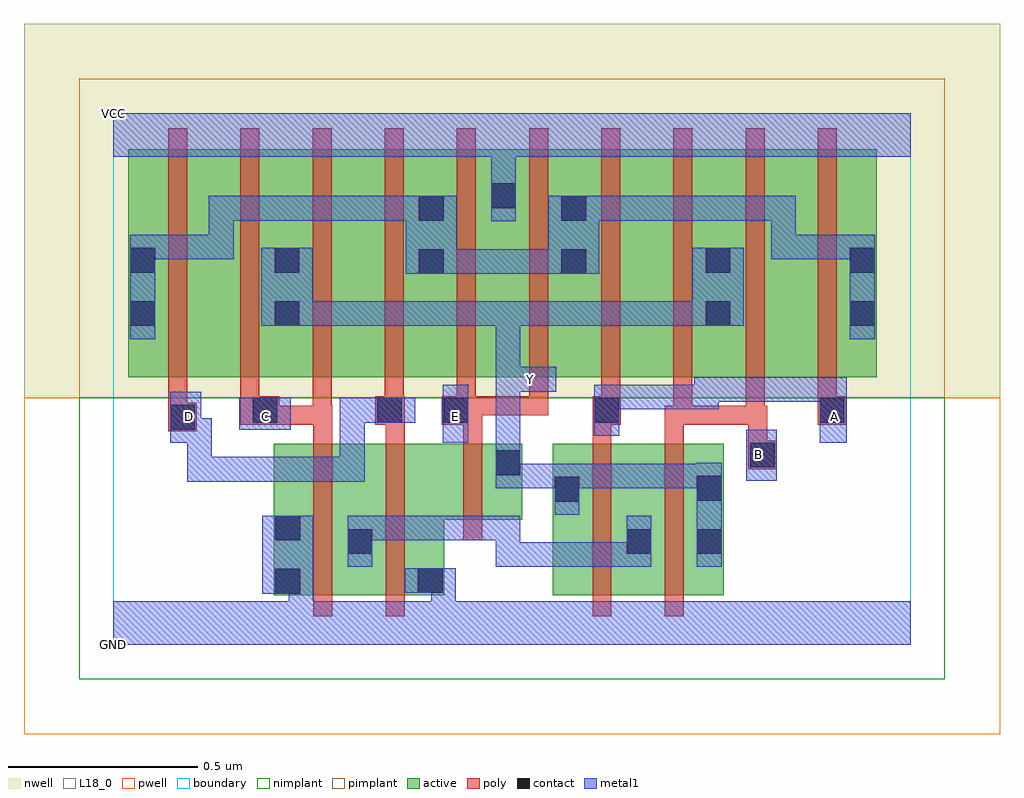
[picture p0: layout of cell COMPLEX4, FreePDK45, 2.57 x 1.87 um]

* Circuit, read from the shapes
.subckt COMPLEX4 A B C D E GND VCC Y
M1 n1 C GND VSUBS nfet w=0.4u l=0.05u
M2 GND D n1 VSUBS nfet w=0.4u l=0.05u
M3 Y E GND VSUBS nfet w=0.2u l=0.05u
M4 n1 A Y VSUBS nfet w=0.4u l=0.05u
M5 Y B n1 VSUBS nfet w=0.4u l=0.05u
M6 n2 D n3 n4 pfet w=0.6u l=0.05u
M7 Y C n2 n4 pfet w=0.6u l=0.05u
M8 n5 C Y n4 pfet w=0.6u l=0.05u
M9 n3 D n5 n4 pfet w=0.6u l=0.05u
M10 VCC E n3 n4 pfet w=0.6u l=0.05u m=2
M11 n6 A n3 n4 pfet w=0.6u l=0.05u
M12 Y B n6 n4 pfet w=0.6u l=0.05u
M13 n7 B Y n4 pfet w=0.6u l=0.05u
M14 n3 A n7 n4 pfet w=0.6u l=0.05u
.ends

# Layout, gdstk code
import gdstk
lib = gdstk.Library(unit=1e-6, precision=1e-09)
def R(c, l, rs):  # rectangles x0, y0, x1, y1
    for r in rs: c.add(gdstk.rectangle(r[:2], r[2:], *l))
def A(c, l, x, y, w, h, nx, ny, dx, dy):  # array of equal rectangles
    R(c, l, [(x+i*dx, y+j*dy, x+i*dx+w, y+j*dy+h) for i in range(nx) for j in range(ny)])
active = (1, 0)
pwell = (2, 0)
nwell = (3, 0)
nimplant = (4, 0)
pimplant = (5, 0)
poly = (9, 0)
contact = (10, 0)
metal1 = (11, 0)
L18_0 = (18, 0)
boundary = (235, 0)

complex4 = lib.new_cell('COMPLEX4')
R(complex4, active, [(0.422,0.13,0.687,0.53), (0.422,0.13,0.497,0.53), (0.612,0.13,0.872,0.53), (0.797,0.13,0.872,0.405), (1.157,0.13,1.422,0.53), (1.347,0.13,1.607,0.53), (0.612,0.195,0.687,0.492), (1.157,0.195,1.232,0.53), (1.347,0.195,1.422,0.492), (1.532,0.195,1.607,0.53), (0.797,0.33,1.077,0.53), (1.002,0.33,1.077,0.53), (0.04,0.705,0.265,1.305), (0.04,0.705,0.145,1.2), (0.265,0.705,0.495,1.305), (0.42,0.705,0.645,1.305), (0.42,0.705,0.495,1.07), (0.645,0.705,0.875,1.305), (0.8,0.705,1.065,1.305), (0.99,0.705,1.25,1.305), (1.175,0.705,1.405,1.305), (1.405,0.705,1.63,1.305), (1.555,0.705,1.785,1.305), (1.785,0.705,2.01,1.305), (1.935,0.705,2.01,1.2), (0.8,0.707,0.875,1.2), (0.99,0.707,1.065,1.305), (1.175,0.707,1.25,1.2), (1.555,0.707,1.63,1.07)])
R(complex4, pwell, [(-0.235,-0.235,2.335,0.65)])
R(complex4, nwell, [(-0.235,0.65,2.335,1.635)])
R(complex4, nimplant, [(-0.09,-0.09,2.19,0.65)])
R(complex4, pimplant, [(-0.09,0.65,2.19,1.49)])
A(complex4, poly, 0.715, 0.605, 0.05, 0.095, 4, 1, 0.19, 0)
A(complex4, poly, 0.145, 0.65, 0.05, 0.71, 10, 1, 0.19, 0)
R(complex4, poly, [(0.527,0.075,0.577,0.585), (0.717,0.075,0.767,0.585), (1.262,0.075,1.312,0.585), (1.452,0.075,1.502,0.585), (0.922,0.275,0.972,0.585), (1.672,0.462,1.747,0.537), (1.672,0.487,1.722,0.63), (1.672,0.487,1.722,0.537), (1.672,0.487,1.722,0.537), (0.527,0.535,0.577,0.63), (0.717,0.535,0.767,0.63), (0.922,0.535,0.972,0.63), (1.262,0.535,1.312,0.63), (1.452,0.535,1.502,0.63), (0.145,0.562,0.22,0.637), (0.335,0.58,0.437,0.655), (0.387,0.58,0.437,0.63), (0.387,0.58,0.437,0.63), (0.387,0.58,0.575,0.63), (0.525,0.58,0.575,0.7), (0.525,0.58,0.577,0.63), (0.69,0.58,0.767,0.655), (0.865,0.58,0.972,0.655), (1.262,0.58,1.337,0.655), (1.452,0.58,1.525,0.63), (1.475,0.58,1.525,0.7), (1.475,0.58,1.715,0.63), (1.475,0.58,1.525,0.63), (1.475,0.58,1.525,0.63), (1.665,0.58,1.715,0.7), (1.665,0.58,1.722,0.63), (1.855,0.58,1.93,0.655), (0.145,0.587,0.195,0.7), (0.335,0.605,0.385,0.7), (0.922,0.605,0.972,0.655), (0.922,0.605,0.972,0.655), (0.922,0.605,1.145,0.655), (1.095,0.605,1.145,0.655), (1.855,0.605,1.905,0.7)])
R(complex4, contact, [(0.427,0.135,0.492,0.2), (0.802,0.137,0.867,0.202), (0.617,0.24,0.682,0.305), (1.352,0.24,1.417,0.305), (1.537,0.24,1.602,0.305), (0.427,0.275,0.492,0.34), (1.162,0.377,1.227,0.442), (1.537,0.38,1.602,0.445), (1.007,0.447,1.072,0.512), (1.677,0.467,1.742,0.532), (0.15,0.567,0.215,0.632), (0.367,0.585,0.432,0.65), (0.695,0.585,0.76,0.65), (0.87,0.585,0.935,0.65), (1.267,0.585,1.332,0.65), (1.86,0.585,1.925,0.65), (0.045,0.84,0.11,0.905), (0.425,0.84,0.49,0.905), (1.56,0.84,1.625,0.905), (1.94,0.84,2.005,0.905), (0.805,0.977,0.87,1.042), (1.18,0.977,1.245,1.042), (0.045,0.98,0.11,1.045), (0.425,0.98,0.49,1.045), (1.56,0.98,1.625,1.045), (1.94,0.98,2.005,1.045), (0.805,1.117,0.87,1.182), (1.18,1.117,1.245,1.182), (0.995,1.15,1.06,1.215)])
R(complex4, metal1, [(0,0,2.1,0.115), (0.462,0.05,0.527,0.2), (0.837,0.05,0.902,0.202), (0.392,0.135,0.527,0.34), (0.767,0.137,0.902,0.202), (0.617,0.205,0.682,0.34), (1.007,0.205,1.072,0.27), (1.007,0.205,1.072,0.27), (1.007,0.205,1.21,0.27), (1.007,0.205,1.072,0.34), (1.145,0.205,1.21,0.27), (1.145,0.205,1.417,0.27), (1.352,0.205,1.417,0.27), (1.352,0.205,1.417,0.27), (1.352,0.205,1.417,0.34), (1.537,0.205,1.602,0.48), (0.617,0.275,0.682,0.34), (0.617,0.275,0.682,0.34), (0.617,0.275,0.922,0.34), (0.857,0.275,0.922,0.34), (0.857,0.275,0.922,0.34), (0.857,0.275,0.922,0.34), (0.857,0.275,1.072,0.34), (1.162,0.342,1.227,0.477), (1.007,0.412,1.072,0.477), (1.007,0.412,1.072,0.477), (1.007,0.412,1.072,0.547), (1.007,0.412,1.227,0.477), (1.162,0.412,1.227,0.477), (1.162,0.412,1.227,0.477), (1.162,0.412,1.417,0.477), (1.352,0.412,1.417,0.477), (1.352,0.412,1.595,0.477), (1.53,0.412,1.595,0.477), (1.53,0.412,1.602,0.477), (0.195,0.43,0.26,0.495), (0.195,0.43,0.26,0.597), (0.195,0.43,0.37,0.495), (0.305,0.43,0.37,0.495), (0.305,0.43,0.507,0.495), (0.442,0.43,0.507,0.495), (0.442,0.43,0.507,0.495), (0.442,0.43,0.507,0.495), (0.442,0.43,0.662,0.495), (0.597,0.43,0.662,0.495), (0.597,0.43,0.662,0.65), (1.667,0.432,1.747,0.567), (1.007,0.482,1.072,0.732), (0.15,0.532,0.232,0.667), (0.167,0.532,0.26,0.597), (0.195,0.532,0.26,0.597), (0.867,0.532,0.935,0.685), (1.86,0.532,1.932,0.705), (1.267,0.55,1.332,0.685), (0.332,0.567,0.467,0.65), (0.597,0.585,0.662,0.65), (0.597,0.585,0.725,0.65), (0.66,0.585,0.795,0.65), (1.267,0.62,1.417,0.685), (1.352,0.62,1.417,0.685), (1.352,0.62,1.595,0.685), (1.53,0.62,1.595,0.705), (1.53,0.64,1.595,0.705), (1.53,0.64,1.595,0.705), (1.53,0.64,1.732,0.705), (1.667,0.64,1.732,0.705), (1.667,0.64,1.732,0.705), (1.667,0.64,1.732,0.705), (1.667,0.64,1.925,0.705), (1.007,0.667,1.072,0.905), (1.007,0.667,1.167,0.732), (0.045,0.805,0.11,1.08), (1.94,0.805,2.005,1.08), (0.39,0.84,0.525,1.045), (0.46,0.84,0.525,0.905), (0.46,0.84,0.525,0.905), (0.46,0.84,0.695,0.905), (0.63,0.84,0.695,0.905), (0.63,0.84,0.695,0.905), (0.63,0.84,0.695,0.905), (0.63,0.84,0.832,0.905), (0.767,0.84,0.832,0.905), (0.767,0.84,0.832,0.905), (0.767,0.84,0.832,0.905), (0.767,0.84,1.072,0.905), (1.007,0.84,1.072,0.905), (1.007,0.84,1.072,0.905), (1.007,0.84,1.072,0.905), (1.007,0.84,1.28,0.905), (1.215,0.84,1.28,0.905), (1.215,0.84,1.417,0.905), (1.352,0.84,1.417,0.905), (1.352,0.84,1.417,0.905), (1.352,0.84,1.417,0.905), (1.352,0.84,1.59,0.905), (1.525,0.84,1.59,0.905), (1.525,0.84,1.59,0.905), (1.525,0.84,1.66,1.045), (0.77,0.977,0.905,1.182), (0.84,0.977,0.905,1.042), (0.84,0.977,0.905,1.042), (0.84,0.977,1.072,1.042), (1.007,0.977,1.072,1.042), (1.007,0.977,1.072,1.042), (1.007,0.977,1.072,1.042), (1.007,0.977,1.21,1.042), (1.145,0.977,1.28,1.182), (0.045,1.015,0.11,1.08), (0.045,1.015,0.11,1.08), (0.045,1.015,0.317,1.08), (0.252,1.015,0.317,1.08), (0.252,1.015,0.317,1.182), (1.732,1.015,1.797,1.08), (1.732,1.015,2.005,1.08), (1.732,1.015,1.797,1.182), (1.94,1.015,2.005,1.08), (1.94,1.015,2.005,1.08), (0.995,1.115,1.06,1.25), (0.252,1.117,0.317,1.182), (0.252,1.117,0.37,1.182), (0.305,1.117,0.37,1.182), (0.305,1.117,0.507,1.182), (0.442,1.117,0.507,1.182), (0.442,1.117,0.507,1.182), (0.442,1.117,0.507,1.182), (0.442,1.117,0.695,1.182), (0.63,1.117,0.695,1.182), (0.63,1.117,0.695,1.182), (0.63,1.117,0.695,1.182), (0.63,1.117,0.835,1.182), (1.215,1.117,1.417,1.182), (1.352,1.117,1.417,1.182), (1.352,1.117,1.417,1.182), (1.352,1.117,1.417,1.182), (1.352,1.117,1.555,1.182), (1.49,1.117,1.555,1.182), (1.49,1.117,1.555,1.182), (1.49,1.117,1.555,1.182), (1.49,1.117,1.787,1.182), (1.722,1.117,1.787,1.182), (1.722,1.117,1.797,1.182), (1.732,1.117,1.797,1.182), (0.995,1.185,1.06,1.35), (0,1.285,2.1,1.4)])
R(complex4, L18_0, [(0,0,2.1,0.115), (0.462,0.05,0.527,0.2), (0.837,0.05,0.902,0.202), (0.392,0.135,0.527,0.34), (0.767,0.137,0.902,0.202), (1.537,0.205,1.602,0.48), (1.162,0.342,1.227,0.477), (1.007,0.412,1.072,0.477), (1.007,0.412,1.072,0.477), (1.007,0.412,1.227,0.477), (1.007,0.412,1.072,0.547), (1.162,0.412,1.227,0.477), (1.162,0.412,1.227,0.477), (1.162,0.412,1.417,0.477), (1.352,0.412,1.417,0.477), (1.352,0.412,1.595,0.477), (1.53,0.412,1.595,0.477), (1.53,0.412,1.602,0.477), (0.195,0.43,0.26,0.495), (0.195,0.43,0.26,0.597), (0.195,0.43,0.37,0.495), (0.305,0.43,0.37,0.495), (0.305,0.43,0.507,0.495), (0.442,0.43,0.507,0.495), (0.442,0.43,0.507,0.495), (0.442,0.43,0.507,0.495), (0.442,0.43,0.662,0.495), (0.597,0.43,0.662,0.495), (0.597,0.43,0.662,0.65), (1.667,0.432,1.747,0.567), (1.667,0.467,1.732,0.532), (1.007,0.482,1.072,0.732), (0.15,0.532,0.232,0.667), (0.167,0.532,0.26,0.597), (0.195,0.532,0.26,0.597), (0.867,0.532,0.935,0.685), (1.86,0.532,1.932,0.705), (1.267,0.55,1.332,0.685), (0.167,0.567,0.232,0.632), (0.332,0.567,0.467,0.65), (0.367,0.567,0.432,0.632), (0.867,0.567,0.932,0.632), (1.867,0.567,1.932,0.632), (0.597,0.585,0.662,0.65), (0.597,0.585,0.725,0.65), (0.66,0.585,0.795,0.65), (1.267,0.62,1.417,0.685), (1.352,0.62,1.417,0.685), (1.352,0.62,1.595,0.685), (1.53,0.62,1.595,0.705), (1.53,0.64,1.595,0.705), (1.53,0.64,1.595,0.705), (1.53,0.64,1.732,0.705), (1.667,0.64,1.732,0.705), (1.667,0.64,1.732,0.705), (1.667,0.64,1.732,0.705), (1.667,0.64,1.925,0.705), (1.007,0.667,1.167,0.732), (1.007,0.667,1.072,0.905), (1.067,0.667,1.132,0.732), (0.39,0.84,0.525,1.045), (0.46,0.84,0.525,0.905), (0.46,0.84,0.525,0.905), (0.46,0.84,0.695,0.905), (0.63,0.84,0.695,0.905), (0.63,0.84,0.695,0.905), (0.63,0.84,0.695,0.905), (0.63,0.84,0.832,0.905), (0.767,0.84,0.832,0.905), (0.767,0.84,0.832,0.905), (0.767,0.84,0.832,0.905), (0.767,0.84,1.072,0.905), (1.007,0.84,1.072,0.905), (1.007,0.84,1.072,0.905), (1.007,0.84,1.072,0.905), (1.007,0.84,1.28,0.905), (1.215,0.84,1.28,0.905), (1.215,0.84,1.417,0.905), (1.352,0.84,1.417,0.905), (1.352,0.84,1.417,0.905), (1.352,0.84,1.417,0.905), (1.352,0.84,1.59,0.905), (1.525,0.84,1.59,0.905), (1.525,0.84,1.59,0.905), (1.525,0.84,1.66,1.045), (0.995,1.115,1.06,1.25), (0.995,1.185,1.06,1.35), (0,1.285,2.1,1.4)])
R(complex4, boundary, [(0,0,2.1,1.4)])
complex4.add(gdstk.Label('A', (1.9,0.6), layer=11, texttype=0))
complex4.add(gdstk.Label('B', (1.7,0.5), layer=11, texttype=0))
complex4.add(gdstk.Label('C', (0.4,0.6), layer=11, texttype=0))
complex4.add(gdstk.Label('D', (0.2,0.6), layer=11, texttype=0))
complex4.add(gdstk.Label('E', (0.9,0.6), layer=11, texttype=0))
complex4.add(gdstk.Label('Y', (1.1,0.7), layer=11, texttype=0))
complex4.add(gdstk.Label('VCC', (0,1.4), layer=11, texttype=0))
complex4.add(gdstk.Label('GND', (0,0), layer=11, texttype=0))

lib.write_gds('COMPLEX4.gds')
